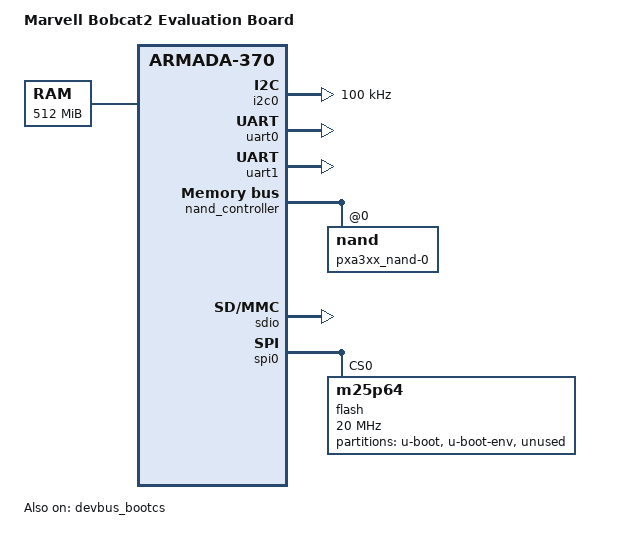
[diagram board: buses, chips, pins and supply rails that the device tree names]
// SPDX-License-Identifier: (GPL-2.0+ OR MIT)
/*
 * Device Tree file for DB-DXBC2 board
 *
 * Copyright (C) 2016 Allied Telesis Labs
 *
 * Based on armada-xp-db.dts
 *
 * Note: this Device Tree assumes that the bootloader has remapped the
 * internal registers to 0xf1000000 (instead of the default
 * 0xd0000000). The 0xf1000000 is the default used by the recent,
 * DT-capable, U-Boot bootloaders provided by Marvell. Some earlier
 * boards were delivered with an older version of the bootloader that
 * left internal registers mapped at 0xd0000000. If you are in this
 * situation, you should either update your bootloader (preferred
 * solution) or the below Device Tree should be adjusted.
 */

/dts-v1/;
#include "armada-xp-98dx4251.dtsi"

/ {
	model = "Marvell Bobcat2 Evaluation Board";
	compatible = "marvell,db-dxbc2", "marvell,armadaxp-98dx4251", "marvell,armada-370-xp";

	chosen {
		bootargs = "console=ttyS0,115200 earlyprintk";
	};

	memory {
		device_type = "memory";
		reg = <0 0x00000000 0 0x20000000>; /* 512 MB */
	};

};

&devbus_bootcs {
	status = "okay";

	/* Device Bus parameters are required */

	/* Read parameters */
	devbus,bus-width    = <16>;
	devbus,turn-off-ps  = <60000>;
	devbus,badr-skew-ps = <0>;
	devbus,acc-first-ps = <124000>;
	devbus,acc-next-ps  = <248000>;
	devbus,rd-setup-ps  = <0>;
	devbus,rd-hold-ps   = <0>;

	/* Write parameters */
	devbus,sync-enable = <0>;
	devbus,wr-high-ps  = <60000>;
	devbus,wr-low-ps   = <60000>;
	devbus,ale-wr-ps   = <60000>;
};

&i2c0 {
	clock-frequency = <100000>;
	status = "okay";
};

&uart0 {
	status = "okay";
};

&uart1 {
	status = "okay";
};

&nand_controller {
	status = "okay";

	nand@0 {
		reg = <0>;
		label = "pxa3xx_nand-0";
		nand-rb = <0>;
		marvell,nand-keep-config;
		nand-on-flash-bbt;
		nand-ecc-strength = <4>;
		nand-ecc-step-size = <512>;
	};
};

&sdio {
	pinctrl-0 = <&sdio_pins>;
	pinctrl-names = "default";
	status = "okay";
	/* No CD or WP GPIOs */
	broken-cd;
};

&spi0 {
	status = "okay";

	flash@0 {
		#address-cells = <1>;
		#size-cells = <1>;
		compatible = "m25p64";
		reg = <0>; /* Chip select 0 */
		spi-max-frequency = <20000000>;
		m25p,fast-read;

		partition@u-boot {
			reg = <0x00000000 0x00100000>;
			label = "u-boot";
		};
		partition@u-boot-env {
			reg = <0x00100000 0x00040000>;
			label = "u-boot-env";
		};
		partition@unused {
			reg = <0x00140000 0x00ec0000>;
			label = "unused";
		};

	};
};
